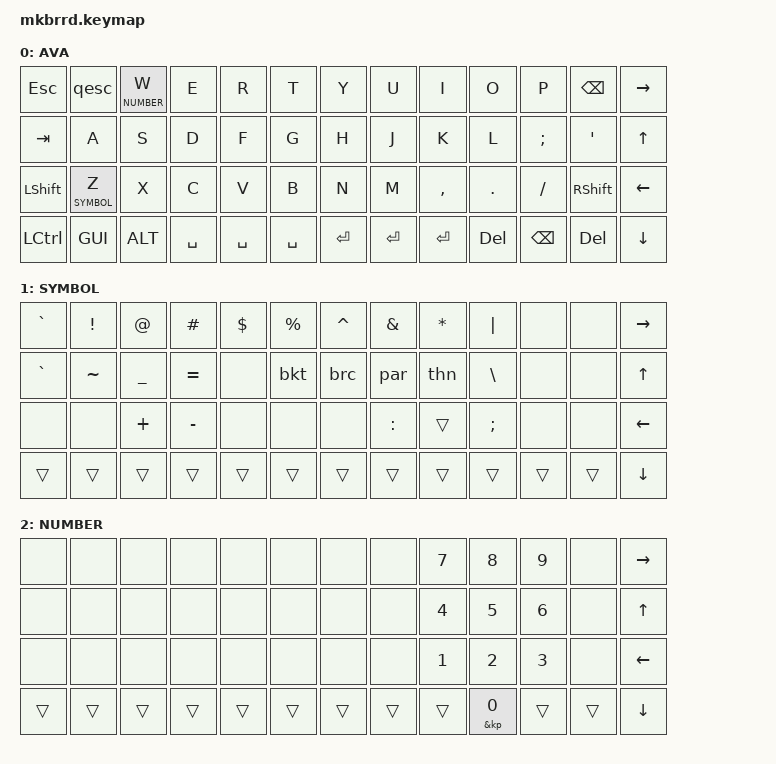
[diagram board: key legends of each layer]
/*
 * Copyright (c) 2024 miketronic
 * SPDX-License-Identifier: MIT
 * MKBRRD Core Keyboard
 */

#include <behaviors.dtsi>
#include <input/processors.dtsi>
#include <zephyr/dt-bindings/input/input-event-codes.h>
#include <dt-bindings/zmk/keys.h>
#include <dt-bindings/zmk/bt.h>
#include <dt-bindings/zmk/outputs.h>
#include <dt-bindings/zmk/mouse.h>

#define ALPHA       0
#define SYMBOL      1
#define NUMBER      2

#define NUMW   &lt NUMBER W
#define SYMZ   &lt SYMBOL Z

&mt {
    tapping-term-ms = <160>;
};

&lt {
    tapping-term-ms = <150>;
};


/ {
    combos {

        compatible = "zmk,combos";
        combo_bootloader {
            timeout-ms = <50>;
            key-positions = <1 10>;
            bindings = <&bootloader>;
        };
    };

    behaviors {

        qesc: tap_dance_qesc {
            compatible = "zmk,behavior-tap-dance";
            #binding-cells = <0>;
            tapping-term-ms = <300>;
            bindings = <&kp Q>, <&kp ESC>;
        };

        bkt: tap_dance_bracket {
            compatible = "zmk,behavior-tap-dance";
            #binding-cells = <0>;
            tapping-term-ms = <200>;
            bindings = <&kp LBKT>, <&kp RBKT>;
        };

        brc: tap_dance_brace {
            compatible = "zmk,behavior-tap-dance";
            #binding-cells = <0>;
            tapping-term-ms = <200>;
            bindings = <&kp LBRC>, <&kp RBRC>;
        };

        par: tap_dance_paren {
            compatible = "zmk,behavior-tap-dance";
            #binding-cells = <0>;
            tapping-term-ms = <200>;
            bindings = <&kp LPAR>, <&kp RPAR>;
        };

        thn: tap_dance_then {
            compatible = "zmk,behavior-tap-dance";
            #binding-cells = <0>;
            tapping-term-ms = <200>;
            bindings = <&kp LT>, <&kp GT>;
        };

        hrm: homerow_mods {
           compatible = "zmk,behavior-hold-tap";
           #binding-cells = <2>;
           tapping-term-ms = <250>;
           quick-tap-ms = <0>;
           flavor = "tap-preferred";
           bindings = <&kp>, <&kp>;

        };

    };



    keymap {
        compatible = "zmk,keymap";

        ALPHA_layer {
            display-name = "AVA";  
            bindings = <
                &kp ESC  &qesc NUMW  &kp E &kp R &kp T &kp Y &kp U &kp I &kp O &kp P    &kp BSPC &kp RIGHT
                &kp TAB  &kp A &kp S &kp D &kp F &kp G &kp H &kp J &kp K &kp L &kp SEMI &kp SQT &kp UP
                &kp LSHFT SYMZ  &kp X &kp C &kp V &kp B &kp N &kp M &kp COMMA &kp DOT &kp SLASH &kp RSHFT &kp LEFT
                &kp LCTRL &kp GUI &kp ALT &kp SPACE &kp SPACE &kp SPACE &kp RET &kp RET &kp RET &kp DEL &kp BSPC &kp DEL &kp DOWN
            >;
        };

        SYMBOL_layer {
            display-name = "SYMBOL";  
            bindings = <
                &kp GRAVE &kp EXCL  &kp AT &kp HASH &kp DLLR &kp PRCNT &kp CARET &kp AMPS &kp STAR &kp PIPE &none &none &kp RIGHT
                &kp GRAVE &kp TILDE &kp UNDER &kp EQUAL &none  &bkt &brc &par &thn &kp BSLH &none &none &kp UP
                &none &none &kp PLUS &kp MINUS &none &none &none &kp COLON &trans &kp SEMI &none &none &kp LEFT
                &trans &trans &trans &trans &trans &trans &trans &trans &trans &trans &trans &trans &kp DOWN
            >;
        };

        NUMBER_layer {
            display-name = "NUMBER";  
            bindings = <
                &none  &none  &none  &none  &none  &none  &none  &none  &kp N7 &kp N8  &kp N9 &none &kp RIGHT
                &none  &none  &none  &none  &none  &none  &none  &none  &kp N4 &kp N5  &kp N6 &none &kp UP
                &none  &none  &none  &none  &none  &none  &none  &none  &kp N1 &kp N2  &kp N3 &none &kp LEFT
                &trans &trans &trans &trans &trans &trans &trans &trans &trans &&kp N0 &trans &trans &kp DOWN
            >;
        };

    };
};
